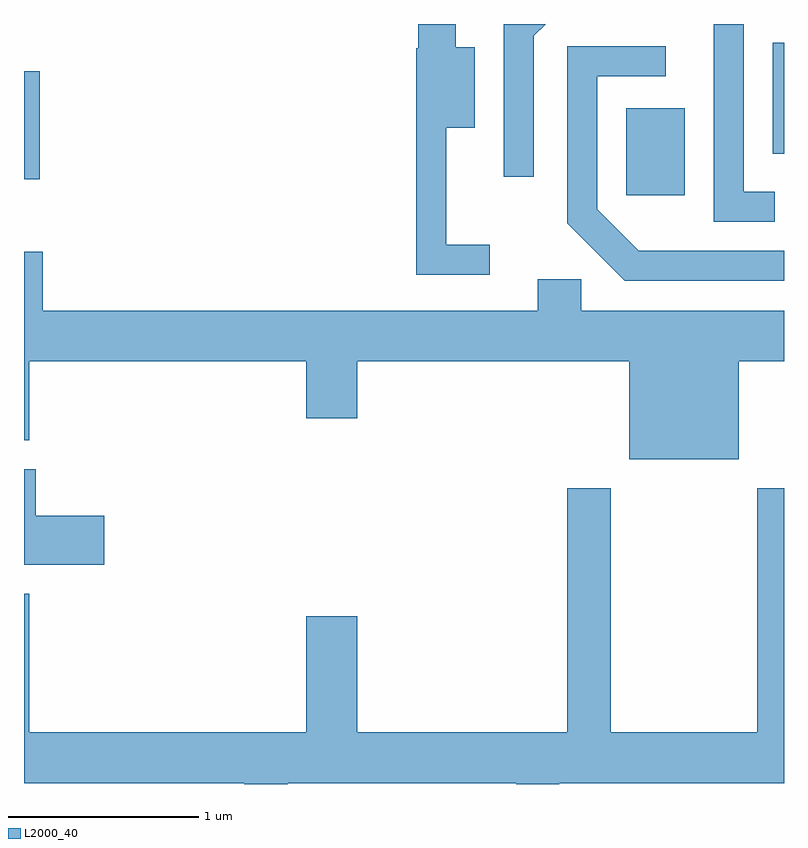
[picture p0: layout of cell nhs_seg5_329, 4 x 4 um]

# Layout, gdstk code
import gdstk
lib = gdstk.Library(unit=1e-6, precision=1e-09)
def R(c, l, rs):  # rectangles x0, y0, x1, y1
    for r in rs: c.add(gdstk.rectangle(r[:2], r[2:], *l))
def P(c, l, *ps):  # polygons
    for p in ps: c.add(gdstk.Polygon(p, *l))
L2000_40 = (2000, 40)

nhs_seg5_329 = lib.new_cell('nhs_seg5_329')
R(nhs_seg5_329, L2000_40, [(196.781,1513.171,197.089,1513.629), (193.611,1513.256,193.694,1513.824), (197.551,1513.388,197.611,1513.974)])
P(nhs_seg5_329, L2000_40, [(197.563,1513.189),(197.399,1513.189),(197.399,1514.072),(197.241,1514.072),(197.241,1513.031),(197.563,1513.031)],
  [(196.294,1514.009),(196.358,1514.072),(196.136,1514.072),(196.136,1513.268),(196.294,1513.268)],
  [(196.063,1512.909),(195.834,1512.909),(195.834,1513.526),(195.984,1513.526),(195.984,1513.949),(195.884,1513.949),(195.884,1514.072),(195.686,1514.072),(195.686,1513.945),(195.676,1513.945),(195.676,1512.751),(196.063,1512.751)],
  [(197.611,1512.879),(196.847,1512.879),(196.629,1513.097),(196.629,1513.796),(196.988,1513.796),(196.988,1513.954),(196.471,1513.954),(196.471,1513.024),(196.774,1512.721),(197.611,1512.721)],
  [(197.374,1512.296),(197.611,1512.296),(197.611,1512.564),(196.544,1512.564),(196.544,1512.729),(196.316,1512.729),(196.316,1512.564),(193.709,1512.564),(193.709,1512.874),(193.611,1512.874),(193.611,1511.881),(193.639,1511.881),(193.639,1512.296),(195.096,1512.296),(195.096,1511.996),(195.364,1511.996),(195.364,1512.296),(196.796,1512.296),(196.796,1511.781),(197.374,1511.781)],
  [(194.034,1511.484),(193.674,1511.484),(193.674,1511.729),(193.611,1511.729),(193.611,1511.226),(194.034,1511.226)],
  [(194.999,1510.076),(196.201,1510.076),(196.201,1510.072),(196.429,1510.072),(196.429,1510.076),(197.611,1510.076),(197.611,1511.629),(197.471,1511.629),(197.471,1510.344),(196.699,1510.344),(196.699,1511.629),(196.471,1511.629),(196.471,1510.344),(195.364,1510.344),(195.364,1510.954),(195.096,1510.954),(195.096,1510.344),(193.639,1510.344),(193.639,1511.074),(193.611,1511.074),(193.611,1510.076),(194.771,1510.076),(194.771,1510.072),(194.999,1510.072)])

lib.write_gds('nhs_seg5_329.gds')
